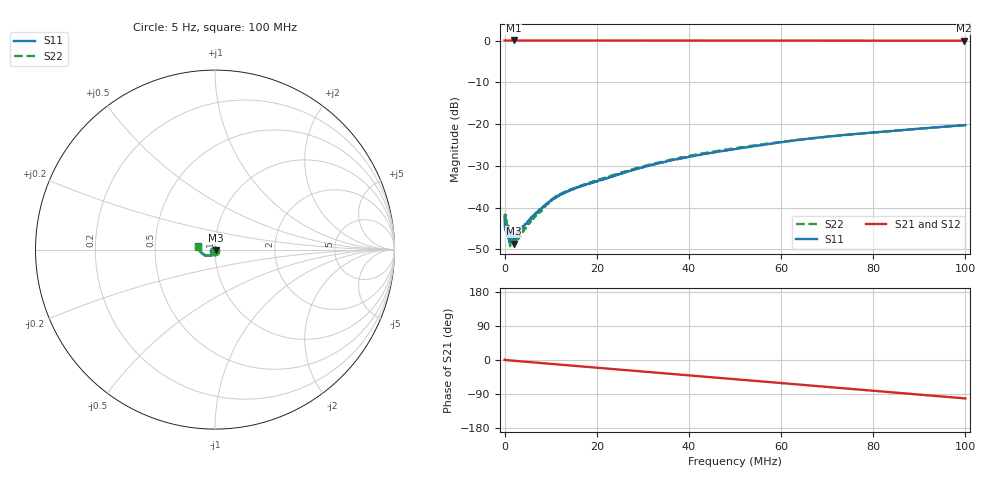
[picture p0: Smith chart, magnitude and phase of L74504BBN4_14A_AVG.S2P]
!Agilent Technologies,E5061B,MY49102235,A.02.00
!Date: Tue Jul 11 16:39:42 2023
!Data & Calibration Information:
!Freq	S11:SOLT2(ON)	S21:SOLT2(ON)	S12:SOLT2(ON)	S22:SOLT2(ON)
# Hz S RI R 50
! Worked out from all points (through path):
!   1600 points, 5 Hz to 100 MHz, reference 50 ohm
!   highest |S21| = 0.02 dB at 2.001 MHz (marker M1); lowest = 0.0 dB at 99.75 MHz (marker M2)
!   group delay of S21, straight-line fit = 2.82 ns
!   lowest |S11| = -48.6 dB at 1.939 MHz (marker M3), VSWR 1.01, Z = 50.3 - j0.198 ohm
!   |S11| at or under -10 dB: start of sweep to end of sweep
!   |S22| runs from -49.3 to -20.3 dB; largest |S21 - S12| = 0.0026
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5  -0.00512 -0.00562  1.002 0.00804  1 0.0102  -0.00142 -0.00754
437778.6  0.00516 -0.000505  1.001 -0.00546  1.001 -0.00614  0.00662 -0.00215
625395.8  0.00508 -0.000523  1.002 -0.0106  1.002 -0.0101  0.00612 -0.000896
938091.3  0.00434 -0.000231  1.001 -0.0152  1.001 -0.0148  0.00591 -0.000808
1500943  0.00437 -0.00223  1.001 -0.0251  1.001 -0.0251  0.00304 -0.00339
1938717  0.00314 -0.00197  1.002 -0.034  1.001 -0.0335  0.00345 -0.00171
2001256  0.00306 -0.00243  1.002 -0.0353  1.002 -0.0352  0.00321 -0.00217
2376490  0.00334 -0.00255  0.9998 -0.0417  1 -0.042  0.004 -0.00222
3252037  0.00428 -0.00358  0.9994 -0.0574  0.9992 -0.0572  0.00321 -0.00309
6003757  0.00342 -0.00676  0.9953 -0.1059  0.9954 -0.1057  0.00303 -0.00661
9505946  0.00172 -0.0113  0.9868 -0.1676  0.9869 -0.1673  0.00119 -0.0114
1.156974e7  0.000362 -0.0138  0.9802 -0.2034  0.9799 -0.2031  -0.000456 -0.014
1.669794e7  -0.00308 -0.0179  0.9571 -0.2914  0.957 -0.291  -0.0034 -0.018
2.582865e7  -0.00923 -0.0243  0.898 -0.4416  0.8978 -0.4414  -0.00714 -0.0257
3.333334e7  -0.0168 -0.0294  0.8311 -0.5566  0.831 -0.5562  -0.0155 -0.0307
4.033771e7  -0.0249 -0.0325  0.7556 -0.6548  0.7556 -0.6544  -0.0245 -0.0339
5.003127e7  -0.0371 -0.0338  0.6325 -0.7742  0.6325 -0.7738  -0.0373 -0.0351
6.672921e7  -0.0617 -0.028  0.3789 -0.9238  0.3793 -0.9237  -0.061 -0.0283
7.53596e7  -0.0729 -0.0196  0.234 -0.97  0.2343 -0.9698  -0.0723 -0.0205
8.33646e7  -0.0816 -0.00871  0.0949 -0.9929  0.0949 -0.9929  -0.0812 -0.0105
9.974984e7  -0.0952 0.0187  -0.1928 -0.9769  -0.1925 -0.9771  -0.0951 0.0158
1e8  -0.0953 0.0191  -0.1971 -0.9762  -0.197 -0.9762  -0.0955 0.0164
